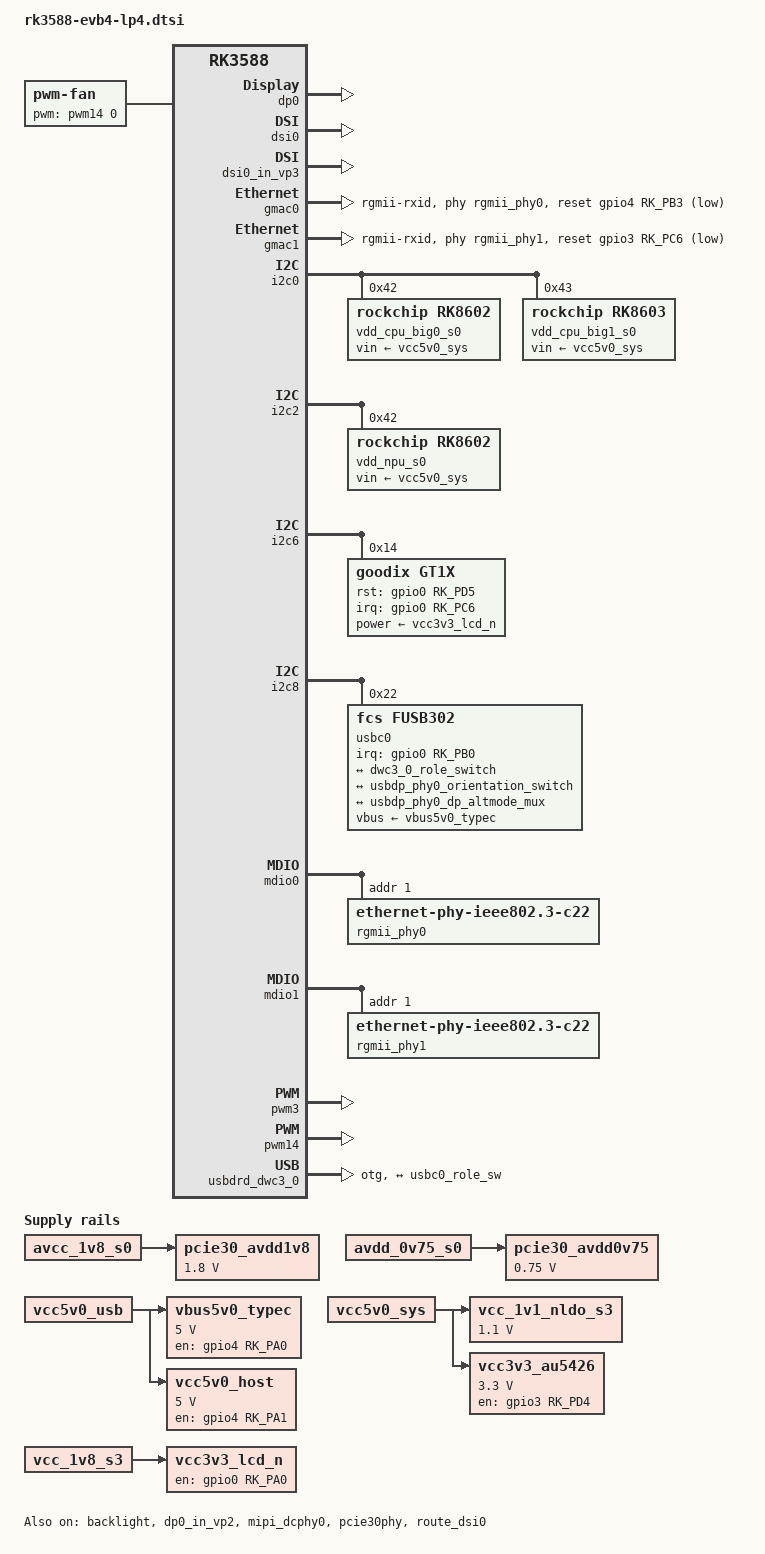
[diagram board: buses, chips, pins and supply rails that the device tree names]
// SPDX-License-Identifier: (GPL-2.0+ OR MIT)
/*
 * Copyright (c) 2021 Rockchip Electronics Co., Ltd.
 *
 */

#include "dt-bindings/usb/pd.h"
#include "rk3588.dtsi"
#include "rk3588-evb.dtsi"
#include "rk3588-rk806-single.dtsi"

/ {
	fan: pwm-fan {
		compatible = "pwm-fan";
		#cooling-cells = <2>;
		pwms = <&pwm14 0 50000 0>;
		cooling-levels = <0 50 100 150 200 255>;
		rockchip,temp-trips = <
			50000	1
			55000	2
			60000	3
			65000	4
			70000	5
		>;
	};

	pcie30_avdd1v8: pcie30-avdd1v8 {
		compatible = "regulator-fixed";
		regulator-name = "pcie30_avdd1v8";
		regulator-boot-on;
		regulator-always-on;
		regulator-min-microvolt = <1800000>;
		regulator-max-microvolt = <1800000>;
		vin-supply = <&avcc_1v8_s0>;
	};

	pcie30_avdd0v75: pcie30-avdd0v75 {
		compatible = "regulator-fixed";
		regulator-name = "pcie30_avdd0v75";
		regulator-boot-on;
		regulator-always-on;
		regulator-min-microvolt = <750000>;
		regulator-max-microvolt = <750000>;
		vin-supply = <&avdd_0v75_s0>;
	};

	reserved-memory {
		#address-cells = <2>;
		#size-cells = <2>;
		ranges;
		dma_trans: dma-trans@3c000000 {
			reg = <0x0 0x3c000000 0x0 0x04000000>;
		};
	};

	vbus5v0_typec: vbus5v0-typec {
		compatible = "regulator-fixed";
		regulator-name = "vbus5v0_typec";
		regulator-min-microvolt = <5000000>;
		regulator-max-microvolt = <5000000>;
		enable-active-high;
		gpio = <&gpio4 RK_PA0 GPIO_ACTIVE_HIGH>;
		vin-supply = <&vcc5v0_usb>;
		pinctrl-names = "default";
		pinctrl-0 = <&typec5v_pwren>;
	};

	vcc_1v1_nldo_s3: vcc-1v1-nldo-s3 {
		compatible = "regulator-fixed";
		regulator-name = "vcc_1v1_nldo_s3";
		regulator-always-on;
		regulator-boot-on;
		regulator-min-microvolt = <1100000>;
		regulator-max-microvolt = <1100000>;
		vin-supply = <&vcc5v0_sys>;
	};

	vcc3v3_au5426: vcc3v3-au5426 {
		compatible = "regulator-fixed";
		regulator-name = "vcc3v3_au5426";
		regulator-min-microvolt = <3300000>;
		regulator-max-microvolt = <3300000>;
		enable-active-high;
		regulator-boot-on;
		regulator-always-on;
		gpios = <&gpio3 RK_PD4 GPIO_ACTIVE_HIGH>;
		startup-delay-us = <5000>;
		vin-supply = <&vcc5v0_sys>;
	};

	vcc3v3_lcd_n: vcc3v3-lcd0-n {
		compatible = "regulator-fixed";
		regulator-name = "vcc3v3_lcd0_n";
		regulator-boot-on;
		enable-active-high;
		gpio = <&gpio0 RK_PA0 GPIO_ACTIVE_HIGH>;
		vin-supply = <&vcc_1v8_s3>;
	};

	vcc5v0_host: vcc5v0-host {
		compatible = "regulator-fixed";
		regulator-name = "vcc5v0_host";
		regulator-boot-on;
		regulator-always-on;
		regulator-min-microvolt = <5000000>;
		regulator-max-microvolt = <5000000>;
		enable-active-high;
		gpio = <&gpio4 RK_PA1 GPIO_ACTIVE_HIGH>;
		vin-supply = <&vcc5v0_usb>;
		pinctrl-names = "default";
		pinctrl-0 = <&vcc5v0_host_en>;
	};
};

&backlight {
	pwms = <&pwm3 0 25000 0>;
	status = "okay";
};

&dp0 {
	status = "okay";
};

&dp0_in_vp2 {
	status = "okay";
};

/*
 * mipi_dcphy0 needs to be enabled
 * when dsi0 is enabled
 */
&dsi0 {
	status = "okay";
};

&dsi0_in_vp2 {
	status = "disabled";
};

&dsi0_in_vp3 {
	status = "okay";
};

&dsi0_panel {
	power-supply = <&vcc3v3_lcd_n>;
	reset-gpios = <&gpio2 RK_PB4 GPIO_ACTIVE_LOW>;
	pinctrl-names = "default";
	pinctrl-0 = <&lcd_rst_gpio>;
};

&gmac0 {
	/* Use rgmii-rxid mode to disable rx delay inside Soc */
	phy-mode = "rgmii-rxid";
	clock_in_out = "output";

	snps,reset-gpio = <&gpio4 RK_PB3 GPIO_ACTIVE_LOW>;
	snps,reset-active-low;
	/* Reset time is 20ms, 100ms for rtl8211f */
	snps,reset-delays-us = <0 20000 100000>;

	pinctrl-names = "default";
	pinctrl-0 = <&gmac0_miim
		     &gmac0_tx_bus2
		     &gmac0_rx_bus2
		     &gmac0_rgmii_clk
		     &gmac0_rgmii_bus>;

	tx_delay = <0x44>;
	/* rx_delay = <0x4f>; */

	phy-handle = <&rgmii_phy0>;
	status = "okay";
};

&gmac1 {
	/* Use rgmii-rxid mode to disable rx delay inside Soc */
	phy-mode = "rgmii-rxid";
	clock_in_out = "output";

	snps,reset-gpio = <&gpio3 RK_PC6 GPIO_ACTIVE_LOW>;
	snps,reset-active-low;
	/* Reset time is 20ms, 100ms for rtl8211f */
	snps,reset-delays-us = <0 20000 100000>;

	pinctrl-names = "default";
	pinctrl-0 = <&gmac1_miim
		     &gmac1_tx_bus2
		     &gmac1_rx_bus2
		     &gmac1_rgmii_clk
		     &gmac1_rgmii_bus>;

	tx_delay = <0x44>;
	/* rx_delay = <0x4f>; */

	phy-handle = <&rgmii_phy1>;
	status = "okay";
};

&i2c0 {
	status = "okay";
	pinctrl-names = "default";
	pinctrl-0 = <&i2c0m2_xfer>;

	vdd_cpu_big0_s0: vdd_cpu_big0_mem_s0: rk8602@42 {
		compatible = "rockchip,rk8602";
		reg = <0x42>;
		vin-supply = <&vcc5v0_sys>;
		regulator-compatible = "rk860x-reg";
		regulator-name = "vdd_cpu_big0_s0";
		regulator-min-microvolt = <550000>;
		regulator-max-microvolt = <1050000>;
		regulator-ramp-delay = <2300>;
		rockchip,suspend-voltage-selector = <1>;
		regulator-boot-on;
		regulator-always-on;
		regulator-state-mem {
			regulator-off-in-suspend;
		};
	};

	vdd_cpu_big1_s0: vdd_cpu_big1_mem_s0: rk8603@43 {
		compatible = "rockchip,rk8603";
		reg = <0x43>;
		vin-supply = <&vcc5v0_sys>;
		regulator-compatible = "rk860x-reg";
		regulator-name = "vdd_cpu_big1_s0";
		regulator-min-microvolt = <550000>;
		regulator-max-microvolt = <1050000>;
		regulator-ramp-delay = <2300>;
		rockchip,suspend-voltage-selector = <1>;
		regulator-boot-on;
		regulator-always-on;
		regulator-state-mem {
			regulator-off-in-suspend;
		};
	};
};

&i2c2 {
	status = "okay";

	vdd_npu_s0: vdd_npu_mem_s0: rk8602@42 {
		compatible = "rockchip,rk8602";
		reg = <0x42>;
		vin-supply = <&vcc5v0_sys>;
		regulator-compatible = "rk860x-reg";
		regulator-name = "vdd_npu_s0";
		regulator-min-microvolt = <550000>;
		regulator-max-microvolt = <950000>;
		regulator-ramp-delay = <2300>;
		rockchip,suspend-voltage-selector = <1>;
		regulator-boot-on;
		regulator-always-on;
		regulator-state-mem {
			regulator-off-in-suspend;
		};
	};
};

&i2c6 {
	status = "okay";
	gt1x: gt1x@14 {
		compatible = "goodix,gt1x";
		reg = <0x14>;
		pinctrl-names = "default";
		pinctrl-0 = <&touch_gpio>;
		goodix,rst-gpio = <&gpio0 RK_PD5 GPIO_ACTIVE_HIGH>;
		goodix,irq-gpio = <&gpio0 RK_PC6 IRQ_TYPE_LEVEL_LOW>;
		power-supply = <&vcc3v3_lcd_n>;
	};
};

&i2c8 {
	status = "okay";
	pinctrl-names = "default";
	pinctrl-0 = <&i2c8m3_xfer>;

	usbc0: fusb302@22 {
		compatible = "fcs,fusb302";
		reg = <0x22>;
		interrupt-parent = <&gpio0>;
		interrupts = <RK_PB0 IRQ_TYPE_LEVEL_LOW>;
		pinctrl-names = "default";
		pinctrl-0 = <&usbc0_int>;
		vbus-supply = <&vbus5v0_typec>;
		status = "okay";

		ports {
			#address-cells = <1>;
			#size-cells = <0>;

			port@0 {
				reg = <0>;
				usbc0_role_sw: endpoint@0 {
					remote-endpoint = <&dwc3_0_role_switch>;
				};
			};
		};

		usb_con: connector {
			compatible = "usb-c-connector";
			label = "USB-C";
			data-role = "dual";
			power-role = "dual";
			try-power-role = "sink";
			op-sink-microwatt = <1000000>;
			sink-pdos =
				<PDO_FIXED(5000, 1000, PDO_FIXED_USB_COMM)>;
			source-pdos =
				<PDO_FIXED(5000, 3000, PDO_FIXED_USB_COMM)>;

			altmodes {
				#address-cells = <1>;
				#size-cells = <0>;

				altmode@0 {
					reg = <0>;
					svid = <0xff01>;
					vdo = <0xffffffff>;
				};
			};

			ports {
				#address-cells = <1>;
				#size-cells = <0>;

				port@0 {
					reg = <0>;
					usbc0_orien_sw: endpoint {
						remote-endpoint = <&usbdp_phy0_orientation_switch>;
					};
				};

				port@1 {
					reg = <1>;
					dp_altmode_mux: endpoint {
						remote-endpoint = <&usbdp_phy0_dp_altmode_mux>;
					};
				};
			};
		};
	};
};

&mdio0 {
	rgmii_phy0: phy@1 {
		compatible = "ethernet-phy-ieee802.3-c22";
		reg = <0x1>;
	};
};

&mdio1 {
	rgmii_phy1: phy@1 {
		compatible = "ethernet-phy-ieee802.3-c22";
		reg = <0x1>;
	};
};

&mipi_dcphy0 {
	status = "okay";
};

&pcie30phy {
	status = "okay";
};

&pcie3x4 {
	compatible = "rockchip,rk3588-pcie-ep";
	memory-region = <&dma_trans>;
	busno = <1>;
};

&pinctrl {
	lcd {
		lcd_rst_gpio: lcd-rst-gpio {
			rockchip,pins = <2 RK_PB4 RK_FUNC_GPIO &pcfg_pull_none>;
		};
	};

	touch {
		touch_gpio: touch-gpio {
			rockchip,pins =
				<0 RK_PD5 RK_FUNC_GPIO &pcfg_pull_up>,
				<0 RK_PC6 RK_FUNC_GPIO &pcfg_pull_up>;
		};
	};

	usb {
		vcc5v0_host_en: vcc5v0-host-en {
			rockchip,pins = <4 RK_PA1 RK_FUNC_GPIO &pcfg_pull_none>;
		};
	};

	usb-typec {
		usbc0_int: usbc0-int {
			rockchip,pins = <0 RK_PB0 RK_FUNC_GPIO &pcfg_pull_up>;
		};

		typec5v_pwren: typec5v-pwren {
			rockchip,pins = <4 RK_PA0 RK_FUNC_GPIO &pcfg_pull_none>;
		};
	};
};

&pwm3 {
	status = "okay";
};

&pwm14 {
	pinctrl-0 = <&pwm14m1_pins>;
	status = "okay";
};

&route_dsi0 {
	status = "okay";
	connect = <&vp3_out_dsi0>;
};

&u2phy2 {
	status = "disabled";
};

&u2phy3 {
	status = "disabled";
};

&u2phy1_otg {
	phy-supply = <&vcc5v0_host>;
};

&u2phy2_host {
	status = "disabled";
};

&u2phy3_host {
	status = "disabled";
};

&usb_host0_ehci {
	status = "disabled";
};

&usb_host0_ohci {
	status = "disabled";
};

&usb_host1_ehci {
	status = "disabled";
};

&usb_host1_ohci {
	status = "disabled";
};

&usbdp_phy0 {
	orientation-switch;
	svid = <0xff01>;
	sbu1-dc-gpios = <&gpio4 RK_PA6 GPIO_ACTIVE_HIGH>;
	sbu2-dc-gpios = <&gpio4 RK_PA7 GPIO_ACTIVE_HIGH>;

	port {
		#address-cells = <1>;
		#size-cells = <0>;
		usbdp_phy0_orientation_switch: endpoint@0 {
			reg = <0>;
			remote-endpoint = <&usbc0_orien_sw>;
		};

		usbdp_phy0_dp_altmode_mux: endpoint@1 {
			reg = <1>;
			remote-endpoint = <&dp_altmode_mux>;
		};
	};
};

&usbdrd_dwc3_0 {
	dr_mode = "otg";
	usb-role-switch;
	port {
		#address-cells = <1>;
		#size-cells = <0>;
		dwc3_0_role_switch: endpoint@0 {
			reg = <0>;
			remote-endpoint = <&usbc0_role_sw>;
		};
	};
};

&usbhost3_0 {
	status = "disabled";
};

&usbhost_dwc3_0 {
	status = "disabled";
};
